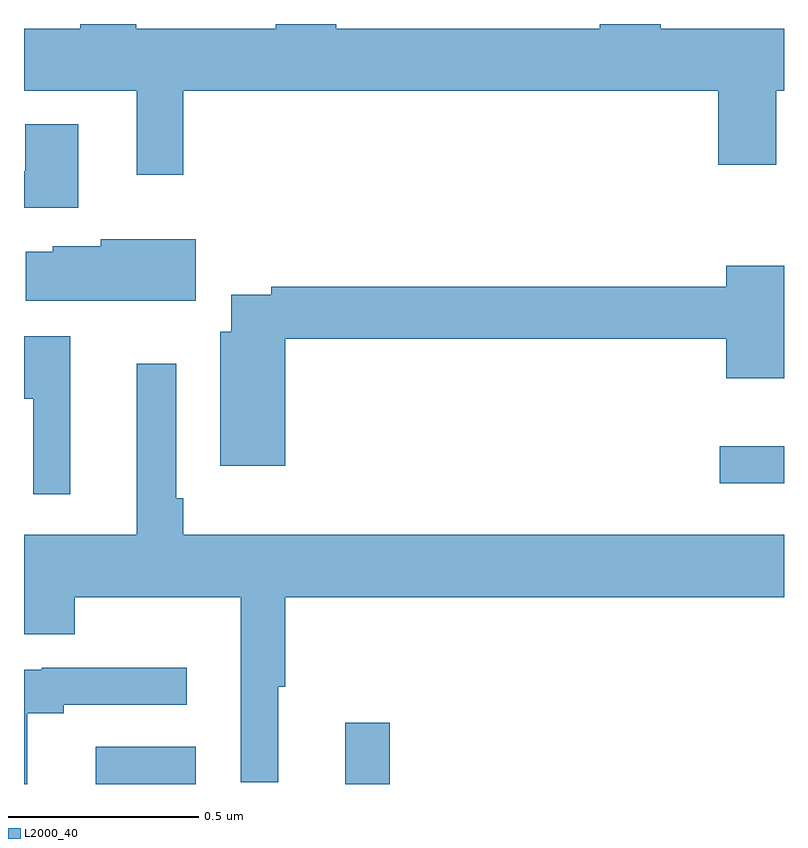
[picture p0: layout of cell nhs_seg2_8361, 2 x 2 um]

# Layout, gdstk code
import gdstk
lib = gdstk.Library(unit=1e-6, precision=1e-09)
def R(c, l, rs):  # rectangles x0, y0, x1, y1
    for r in rs: c.add(gdstk.rectangle(r[:2], r[2:], *l))
def P(c, l, *ps):  # polygons
    for p in ps: c.add(gdstk.Polygon(p, *l))
L2000_40 = (2000, 40)

nhs_seg2_8361 = lib.new_cell('nhs_seg2_8361')
R(nhs_seg2_8361, L2000_40, [(215.189,657.8,215.452,657.898), (215.846,657.8,215.963,657.961), (216.831,658.592,217,658.689)])
P(nhs_seg2_8361, L2000_40, [(215.419,659.624),(216.827,659.624),(216.827,659.43),(216.979,659.43),(216.979,659.624),(217,659.624),(217,659.788),(216.675,659.788),(216.675,659.8),(216.515,659.8),(216.515,659.788),(215.822,659.788),(215.822,659.8),(215.662,659.8),(215.662,659.788),(215.295,659.788),(215.295,659.8),(215.148,659.8),(215.148,659.788),(215,659.788),(215,659.624),(215.297,659.624),(215.297,659.403),(215.419,659.403)],
  [(215.143,659.536),(215.003,659.536),(215.003,659.413),(215,659.413),(215,659.316),(215.143,659.316)],
  [(215.452,659.233),(215.202,659.233),(215.202,659.215),(215.076,659.215),(215.076,659.201),(215.004,659.201),(215.004,659.072),(215.452,659.072)],
  [(215.687,658.972),(216.848,658.972),(216.848,658.868),(217,658.868),(217,659.164),(216.848,659.164),(216.848,659.108),(215.65,659.108),(215.65,659.088),(215.546,659.088),(215.546,658.99),(215.516,658.99),(215.516,658.638),(215.687,658.638)],
  [(215.122,658.978),(215,658.978),(215,658.814),(215.024,658.814),(215.024,658.563),(215.122,658.563)],
  [(215.669,658.056),(215.687,658.056),(215.687,658.292),(217,658.292),(217,658.456),(215.419,658.456),(215.419,658.552),(215.401,658.552),(215.401,658.906),(215.297,658.906),(215.297,658.456),(215,658.456),(215,658.194),(215.133,658.194),(215.133,658.292),(215.57,658.292),(215.57,657.804),(215.669,657.804)],
  [(215.009,657.986),(215.104,657.986),(215.104,658.008),(215.428,658.008),(215.428,658.106),(215.047,658.106),(215.047,658.101),(215,658.101),(215,657.8),(215.009,657.8)])

lib.write_gds('nhs_seg2_8361.gds')
